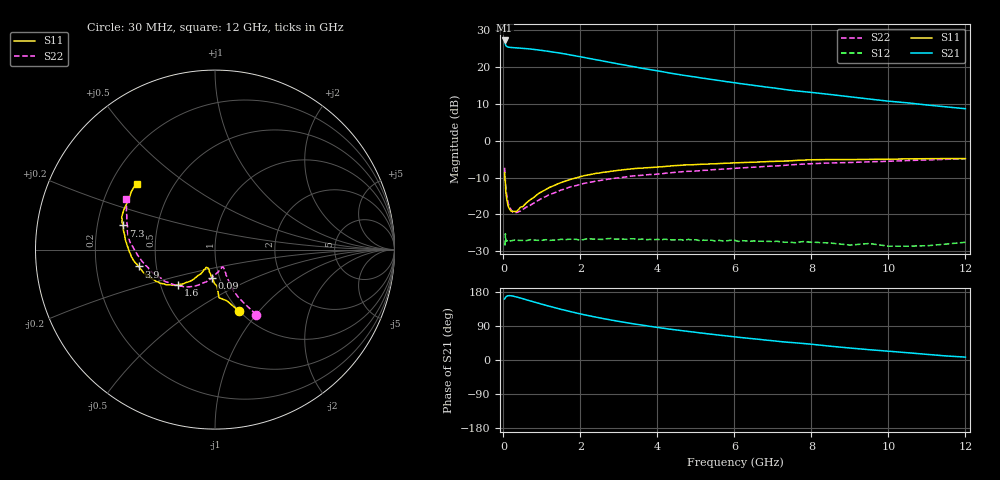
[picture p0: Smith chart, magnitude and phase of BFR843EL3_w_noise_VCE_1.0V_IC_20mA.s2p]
! Infineon Technologies  Discrete & RF Semiconductors
! BFR843EL3
! VCE =  1.0 V,  IC =  20 mA
! Common Emitter S-Parameters:  Aug 2013
# GHz  S  MA  R  50
!  f  S11  S21  S12  S22
! GHz  MAG  ANG  MAG  ANG  MAG  ANG  MAG  ANG
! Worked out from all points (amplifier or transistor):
!   103 points, 30 MHz to 12 GHz, reference 50 ohm
!   highest |S21| = 27.2 dB at 30 MHz (marker M1)
!   |S21| within 3 dB of that: start of sweep to 1.196 GHz
!   unconditionally stable (mu >= 1): 4.271 GHz to end of sweep
!   at 400 MHz: K = 1.00, MSG = 26.1 dB, |S12| = -27.1 dB
!   at 3.7 GHz: K = 0.96, MSG = 23.2 dB, |S12| = -26.9 dB
!   at 12 GHz: K = 2.16, MAG = 12.0 dB, |S12| = -27.6 dB
!   lowest NFmin = 1.09 dB at 900 MHz
!   S11 on the Smith chart (normalised r, x): 30 MHz: 1.00, -0.79; 90 MHz: 0.92, -0.29; 1.6 GHz: 0.62, -0.26; 3.9 GHz: 0.40, -0.09; 7.3 GHz: 0.31, +0.12; 12 GHz: 0.31, +0.33
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0.03  0.3687 -68.7  22.86 160.9  0.0398 28.3  0.429 -57.6
0.04  0.2934 -76.8  21.27 162.7  0.0385 22.2  0.3381 -61.6
0.06  0.204 -86.8  19.67 166.0  0.0463 9.1  0.2406 -66.2
0.09  0.1565 -96.0  18.93 168.5  0.0435 9.3  0.1778 -66.4
0.15  0.1204 -105.0  18.49 169.8  0.0438 5.1  0.1294 -65.1
0.2  0.1101 -110.1  18.35 169.4  0.0438 4.9  0.1155 -64.3
0.6  0.1442 -119.2  17.7 158.8  0.0442 3.6  0.1261 -81.8
1  0.2039 -125.9  16.74 147.2  0.0446 2.3  0.1655 -98.5
1.3  0.2442 -131.4  15.87 139.0  0.0449 2.3  0.1938 -108.5
1.6  0.2823 -136.1  14.99 131.2  0.0453 3.0  0.2212 -116.0
2.1  0.3357 -144.2  13.42 119.3  0.0459 2.9  0.2639 -128.2
2.6  0.3741 -151.9  11.99 109.2  0.0458 3.1  0.2938 -137.3
3  0.3969 -157.0  10.94 101.9  0.0464 1.8  0.3136 -143.3
3.3  0.413 -161.0  10.25 96.7  0.0467 2.3  0.3299 -147.5
3.9  0.435 -167.5  9.028 87.5  0.0455 2.5  0.3474 -154.8
4.1  0.4419 -169.3  8.669 84.6  0.0453 1.8  0.3554 -156.4
5.1  0.4775 -178.6  7.143 71.6  0.0441 2.1  0.3913 -166.3
6.1  0.5027 173.7  6.001 60.1  0.043 2.8  0.4249 -174.1
7.3  0.5295 165.3  4.948 47.6  0.0419 6.0  0.4627 177.2
8.5  0.5547 156.3  4.223 36.3  0.0409 4.9  0.4989 168.1
10.5  0.5671 145.4  3.258 19.2  0.0371 18.5  0.538 156.6
12  0.5716 139.9  2.713 7.6  0.0419 29.9  0.5688 150.1
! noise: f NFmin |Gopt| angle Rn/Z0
0.45  1.1  0.09  143  0.13
0.9  1.09  0.1  141  0.12
1.5  1.11  0.11  142  0.11
1.9  1.12  0.11  145  0.11
2.4  1.13  0.12  148  0.1
3.5  1.15  0.15  156  0.1
5.5  1.18  0.21  176  0.1
8  1.22  0.32  197  0.08
10  1.25  0.45  220  0.08
